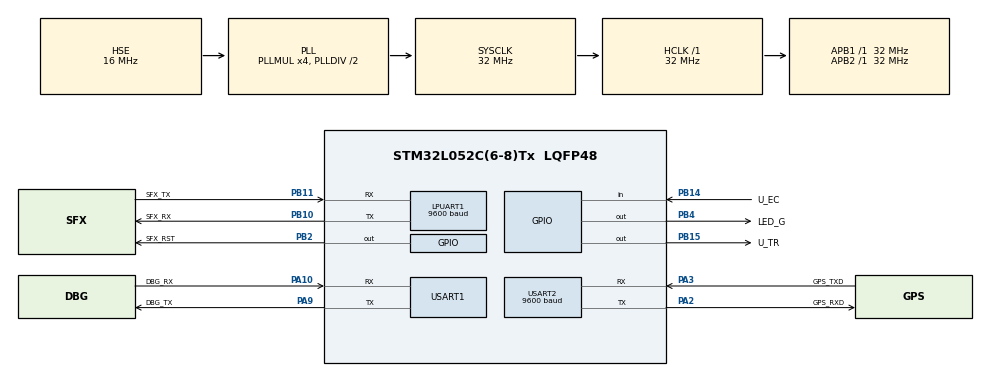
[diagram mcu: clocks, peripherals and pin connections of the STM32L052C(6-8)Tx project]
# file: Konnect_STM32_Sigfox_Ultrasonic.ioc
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LPUART1.BaudRate=9600
LPUART1.WordLength=UART_WORDLENGTH_8B
Mcu.Family=STM32L0
Mcu.Name=STM32L052C(6-8)Tx
Mcu.Package=LQFP48
NVIC.RNG_LPUART1_IRQn=true\:0\:0\:false\:false\:true\:true\:true
NVIC.USART1_IRQn=true\:0\:0\:false\:false\:true\:true\:true
NVIC.USART2_IRQn=true\:0\:0\:false\:false\:true\:true\:true
PA10.GPIO_Label=DBG_RX
PA10.Mode=Asynchronous
PA10.Signal=USART1_RX
PA2.GPIO_Label=GPS_RXD
PA2.Mode=Asynchronous
PA2.Signal=USART2_TX
PA3.GPIO_Label=GPS_TXD
PA3.Mode=Asynchronous
PA3.Signal=USART2_RX
PA9.GPIO_Label=DBG_TX
PA9.Mode=Asynchronous
PA9.Signal=USART1_TX
PB10.GPIO_Label=SFX_RX
PB10.Mode=Asynchronous
PB10.Signal=LPUART1_TX
PB11.GPIO_Label=SFX_TX
PB11.Mode=Asynchronous
PB11.Signal=LPUART1_RX
PB14.GPIO_Label=U_EC
PB14.Signal=GPIO_Input
PB15.GPIO_Label=U_TR
PB15.GPIO_Speed=GPIO_SPEED_FREQ_HIGH
PB15.Signal=GPIO_Output
PB2.GPIO_Label=SFX_RST
PB2.GPIO_PuPd=GPIO_PULLUP
PB2.Signal=GPIO_Output
PB4.GPIO_Label=LED_G
PB4.Signal=GPIO_Output
PH0-OSC_IN.Mode=HSE-External-Oscillator
PH0-OSC_IN.Signal=RCC_OSC_IN
PH1-OSC_OUT.Mode=HSE-External-Oscillator
PH1-OSC_OUT.Signal=RCC_OSC_OUT
ProjectManager.HeapSize=0x200
ProjectManager.StackSize=0x400
ProjectManager.TargetToolchain=STM32CubeIDE
RCC.AHBFreq_Value=32000000
RCC.APB1Freq_Value=32000000
RCC.APB1TimFreq_Value=32000000
RCC.APB2Freq_Value=32000000
RCC.APB2TimFreq_Value=32000000
RCC.HCLKFreq_Value=32000000
RCC.HSE_VALUE=16000000
RCC.HSI16_VALUE=16000000
RCC.HSI48_VALUE=48000000
RCC.HSI_VALUE=16000000
RCC.LSE_VALUE=32768
RCC.MSI_VALUE=2097000
RCC.PLLMUL=RCC_PLLMUL_4
RCC.PLLSourceVirtual=RCC_PLLSOURCE_HSE
RCC.SYSCLKFreq_VALUE=32000000
RCC.SYSCLKSource=RCC_SYSCLKSOURCE_PLLCLK
RCC.VCOOutputFreq_Value=64000000
TIM6.AutoReloadPreload=TIM_AUTORELOAD_PRELOAD_ENABLE
TIM6.Period=0
TIM6.Prescaler=32-1
USART1.VirtualMode-Asynchronous=VM_ASYNC
USART2.BaudRate=9600
USART2.VirtualMode-Asynchronous=VM_ASYNC
VP_TIM6_VS_ClockSourceINT.Mode=Enable_Timer
board=custom

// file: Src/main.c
/* USER CODE BEGIN Header */
/**
 ******************************************************************************
 * @file           : main.c
 * @brief          : Main program body
 ******************************************************************************
 * @attention
 *
 * <h2><center>&copy; Copyright (c) 2019 STMicroelectronics.
 * All rights reserved.</center></h2>
 *
 * This software component is licensed by ST under BSD 3-Clause license,
 * the "License"; You may not use this file except in compliance with the
 * License. You may obtain a copy of the License at:
 *                        opensource.org/licenses/BSD-3-Clause
 *
 ******************************************************************************
 */

/*
 * main.c
 *
 * Warefab Konnect STM32L0-SIGFOX Development Board
 *
 * Created on: Nov 8, 2019
 * Author: Muchiri John
 * (c) wwww.warefab.com
 *
 * This software component is licensed by warefab under BSD 3-Clause license,
 * the "License"; You may not use this file except in compliance with the
 * License. You may obtain a copy of the License at:
 *
 * opensource.org/licenses/BSD-3-Clause
 *
 */

#include <stdio.h>
#include <stdlib.h>
#include <math.h>
/* USER CODE END Header */

#include "main.h"
#include "usart.h"
#include "tim.h"
#include "gpio.h"

/* USER CODE BEGIN Includes */
#include "sigfox.h"
/* USER CODE END Includes */

/* USER CODE BEGIN PV */
static const char NMEA_NONE[] =
		"$PMTK314,0,0,0,0,0,0,0,0,0,0,0,0,0,0,0,0,0,0,0*28\r\n";
uint8_t sigfox_delay;
char buffer[30] = {0};
/* USER CODE END PV */

void SystemClock_Config(void);
/* USER CODE BEGIN PFP */
void delay_us(uint32_t);
uint16_t getUltrasonic();
void sendToSigfox(uint16_t);
/* USER CODE END PFP */

int main(void)
{
  /* USER CODE BEGIN 1 */
	uint16_t distance_mm = 0;
	sigfox_delay = 0;
  /* USER CODE END 1 */

  /* MCU Configuration--------------------------------------------------------*/

  /* Reset of all peripherals, Initializes the Flash interface and the Systick. */
  HAL_Init();

  /* Configure the system clock */
  SystemClock_Config();

  /* Initialize all configured peripherals */
  MX_GPIO_Init();
  MX_LPUART1_UART_Init();
  MX_USART1_UART_Init();
  MX_USART2_UART_Init();
  MX_TIM6_Init();
  /* USER CODE BEGIN 2 */
	//disable gps nmea output
	usart_puts(&huart2, (char*) NMEA_NONE);
	//reset sigfox module
	resetSigfoxModule();
	//get ID and PAC
	getSigfoxPACID();
  /* USER CODE END 2 */

  /* Infinite loop */
  /* USER CODE BEGIN WHILE */
	while (1) {
		//read distance
		distance_mm = getUltrasonic();
		//print to debug port
		sprintf(buffer, "Distance : %d mm\r\n", distance_mm);
		usart_puts(&huart1, buffer);
		//after 36-40 sec send to sigfox
		sendToSigfox(distance_mm);
		//toggle green led
		HAL_GPIO_TogglePin(LED_G_GPIO_Port, LED_G_Pin);
		//delay 200ms
		HAL_Delay(200);
    /* USER CODE END WHILE */

	}
}

void SystemClock_Config(void)
{
  RCC_OscInitTypeDef RCC_OscInitStruct = {0};
  RCC_ClkInitTypeDef RCC_ClkInitStruct = {0};
  RCC_PeriphCLKInitTypeDef PeriphClkInit = {0};

  /** Configure the main internal regulator output voltage
  */
  __HAL_PWR_VOLTAGESCALING_CONFIG(PWR_REGULATOR_VOLTAGE_SCALE1);
  /** Initializes the CPU, AHB and APB busses clocks
  */
  RCC_OscInitStruct.OscillatorType = RCC_OSCILLATORTYPE_HSE;
  RCC_OscInitStruct.HSEState = RCC_HSE_ON;
  RCC_OscInitStruct.PLL.PLLState = RCC_PLL_ON;
  RCC_OscInitStruct.PLL.PLLSource = RCC_PLLSOURCE_HSE;
  RCC_OscInitStruct.PLL.PLLMUL = RCC_PLLMUL_4;
  RCC_OscInitStruct.PLL.PLLDIV = RCC_PLLDIV_2;
  if (HAL_RCC_OscConfig(&RCC_OscInitStruct) != HAL_OK)
  {
    Error_Handler();
  }
  /** Initializes the CPU, AHB and APB busses clocks
  */
  RCC_ClkInitStruct.ClockType = RCC_CLOCKTYPE_HCLK|RCC_CLOCKTYPE_SYSCLK
                              |RCC_CLOCKTYPE_PCLK1|RCC_CLOCKTYPE_PCLK2;
  RCC_ClkInitStruct.SYSCLKSource = RCC_SYSCLKSOURCE_PLLCLK;
  RCC_ClkInitStruct.AHBCLKDivider = RCC_SYSCLK_DIV1;
  RCC_ClkInitStruct.APB1CLKDivider = RCC_HCLK_DIV1;
  RCC_ClkInitStruct.APB2CLKDivider = RCC_HCLK_DIV1;

  if (HAL_RCC_ClockConfig(&RCC_ClkInitStruct, FLASH_LATENCY_1) != HAL_OK)
  {
    Error_Handler();
  }
  PeriphClkInit.PeriphClockSelection = RCC_PERIPHCLK_USART1|RCC_PERIPHCLK_USART2
                              |RCC_PERIPHCLK_LPUART1;
  PeriphClkInit.Usart1ClockSelection = RCC_USART1CLKSOURCE_PCLK2;
  PeriphClkInit.Usart2ClockSelection = RCC_USART2CLKSOURCE_PCLK1;
  PeriphClkInit.Lpuart1ClockSelection = RCC_LPUART1CLKSOURCE_PCLK1;
  if (HAL_RCCEx_PeriphCLKConfig(&PeriphClkInit) != HAL_OK)
  {
    Error_Handler();
  }
}

/* USER CODE BEGIN 4 */

/*
 * @brief delay microseconds
 * @param microseconds
 */
void delay_us(uint32_t us_) {
	uint32_t time_ = __HAL_TIM_GET_COUNTER(&htim6);
	while ((__HAL_TIM_GET_COUNTER(&htim6) - time_) < us_){}
}

/*
 * @brief get ultrasonic sensor value
 * @retval sensor value in mm
 */
uint16_t getUltrasonic() {
	uint32_t timeout_ = 0;
	uint32_t us_tick = 0;
	uint16_t reading = 0;

	//pulse trigger pin - HIGH-LOW-HIGH
	HAL_GPIO_WritePin(U_TR_GPIO_Port, U_TR_Pin, GPIO_PIN_SET);
	delay_us(2);
	HAL_GPIO_WritePin(U_TR_GPIO_Port, U_TR_Pin, GPIO_PIN_RESET);
	delay_us(10);
	HAL_GPIO_WritePin(U_TR_GPIO_Port, U_TR_Pin, GPIO_PIN_SET);
	//check if echo pin is low
	while (!(HAL_GPIO_ReadPin(U_EC_GPIO_Port, U_EC_Pin)))
		;
	//check if echo pin is high
	timeout_ = HAL_GetTick();
	//start timing when echo goes high - with 10s timeout
	while (HAL_GPIO_ReadPin(U_EC_GPIO_Port, U_EC_Pin)) {
		us_tick++;
		if (HAL_GetTick() - timeout_ > 10000) {
			us_tick = 0;
			break;
		}
	}
	//calculate reading
	reading = (uint32_t) ((float) (us_tick) / 5.8);
	//no obstacle
	if (reading > 2000)
		reading = 0;
	//return read value - mm
	return reading;
}

/*
 * @brief send data to sigfox cloud
 * @param distance value
 */
void sendToSigfox(uint16_t distance) {
	//with 200ms * 180 = 36 sec delay
	if (sigfox_delay >= 180) {
		//format bytes to hex
		sprintf(buffer, "%04X", distance);
		//send to debug port
		usart_puts(&huart1, buffer);
		usart_puts(&huart1, (char*) "\r\n");
		//send to sigfox cloud, 36 sec delay
		sendSigfoxMessage((char*) buffer);
		sigfox_delay = 0;
	} else {
		sigfox_delay++;
	}
}
/* USER CODE END 4 */

void Error_Handler(void)
{
}

/************************ (C) COPYRIGHT STMicroelectronics *****END OF FILE****/
